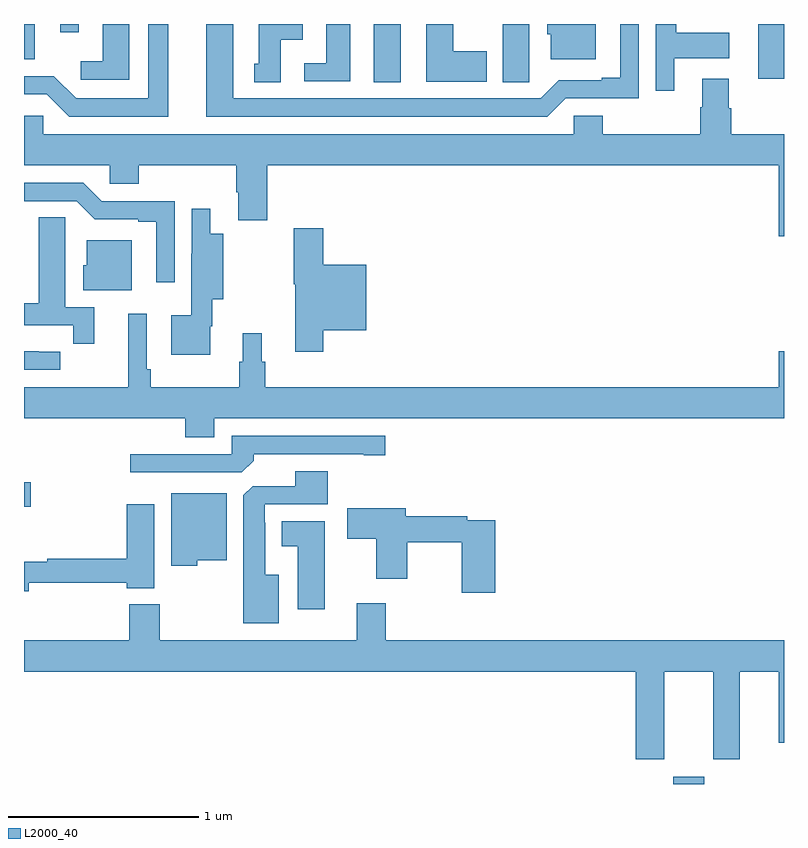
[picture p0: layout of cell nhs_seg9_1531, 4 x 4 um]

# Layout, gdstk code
import gdstk
lib = gdstk.Library(unit=1e-6, precision=1e-09)
def R(c, l, rs):  # rectangles x0, y0, x1, y1
    for r in rs: c.add(gdstk.rectangle(r[:2], r[2:], *l))
def P(c, l, *ps):  # polygons
    for p in ps: c.add(gdstk.Polygon(p, *l))
L2000_40 = (2000, 40)

nhs_seg9_1531 = lib.new_cell('nhs_seg9_1531')
R(nhs_seg9_1531, L2000_40, [(200.417,1190.5,200.581,1190.539), (197,1191.959,197.035,1192.089), (198.842,1194.193,198.982,1194.5), (200.864,1194.213,201,1194.5), (197,1194.314,197.056,1194.5), (197.192,1194.456,197.289,1194.5)])
P(nhs_seg9_1531, L2000_40, [(197.758,1194.5),(197.654,1194.5),(197.654,1194.108),(197.274,1194.108),(197.157,1194.225),(197,1194.225),(197,1194.129),(197.121,1194.129),(197.238,1194.012),(197.758,1194.012)],
  [(199.659,1194.304),(199.66,1194.304),(199.66,1194.5),(199.52,1194.5),(199.52,1194.193),(199.659,1194.193)],
  [(200.008,1194.5),(199.754,1194.5),(199.754,1194.447),(199.772,1194.447),(199.772,1194.314),(200.008,1194.314)],
  [(200.422,1194.32),(200.713,1194.32),(200.713,1194.455),(200.434,1194.455),(200.434,1194.5),(200.325,1194.5),(200.325,1194.15),(200.422,1194.15)],
  [(198.718,1194.5),(198.59,1194.5),(198.59,1194.294),(198.474,1194.294),(198.474,1194.198),(198.718,1194.198)],
  [(197.554,1194.5),(197.414,1194.5),(197.414,1194.304),(197.298,1194.304),(197.298,1194.207),(197.554,1194.207)],
  [(199.435,1194.357),(199.258,1194.357),(199.258,1194.5),(199.118,1194.5),(199.118,1194.197),(199.435,1194.197)],
  [(198.352,1194.416),(198.466,1194.416),(198.466,1194.5),(198.236,1194.5),(198.236,1194.291),(198.212,1194.291),(198.212,1194.193),(198.352,1194.193)],
  [(199.851,1194.108),(200.235,1194.108),(200.235,1194.5),(200.138,1194.5),(200.138,1194.217),(200.042,1194.217),(200.042,1194.204),(199.815,1194.204),(199.719,1194.108),(198.1,1194.108),(198.1,1194.5),(197.96,1194.5),(197.96,1194.012),(199.755,1194.012)],
  [(201,1193.92),(200.723,1193.92),(200.723,1194.057),(200.71,1194.057),(200.71,1194.211),(200.57,1194.211),(200.57,1194.062),(200.558,1194.062),(200.558,1193.92),(200.045,1193.92),(200.045,1194.018),(199.893,1194.018),(199.893,1193.92),(197.1,1193.92),(197.1,1194.018),(197,1194.018),(197,1193.756),(197.451,1193.756),(197.451,1193.658),(197.603,1193.658),(197.603,1193.756),(198.116,1193.756),(198.116,1193.614),(198.128,1193.614),(198.128,1193.466),(198.281,1193.466),(198.281,1193.756),(200.972,1193.756),(200.972,1193.382),(201,1193.382)],
  [(197.793,1193.568),(197.409,1193.568),(197.313,1193.664),(197,1193.664),(197,1193.568),(197.277,1193.568),(197.373,1193.472),(197.6,1193.472),(197.6,1193.46),(197.696,1193.46),(197.696,1193.142),(197.793,1193.142)],
  [(197.979,1192.91),(197.992,1192.91),(197.992,1193.051),(198.048,1193.051),(198.048,1193.395),(197.98,1193.395),(197.98,1193.527),(197.882,1193.527),(197.882,1193.291),(197.881,1193.291),(197.881,1192.966),(197.774,1192.966),(197.774,1192.76),(197.979,1192.76)],
  [(197.369,1193.01),(197.218,1193.01),(197.218,1193.372),(197.217,1193.372),(197.217,1193.483),(197.078,1193.483),(197.078,1193.031),(197,1193.031),(197,1192.914),(197.26,1192.914),(197.26,1192.818),(197.369,1192.818)],
  [(198.575,1192.889),(198.802,1192.889),(198.802,1193.233),(198.575,1193.233),(198.575,1193.425),(198.421,1193.425),(198.421,1193.129),(198.428,1193.129),(198.428,1192.776),(198.575,1192.776)],
  [(197.566,1193.362),(197.33,1193.362),(197.33,1193.229),(197.312,1193.229),(197.312,1193.099),(197.566,1193.099)],
  [(198.001,1192.424),(201,1192.424),(201,1192.777),(200.972,1192.777),(200.972,1192.588),(198.269,1192.588),(198.269,1192.722),(198.25,1192.722),(198.25,1192.873),(198.152,1192.873),(198.152,1192.722),(198.133,1192.722),(198.133,1192.588),(197.666,1192.588),(197.666,1192.684),(197.646,1192.684),(197.646,1192.975),(197.549,1192.975),(197.549,1192.588),(197,1192.588),(197,1192.424),(197.849,1192.424),(197.849,1192.325),(198.001,1192.325)],
  [(197.191,1192.776),(197.078,1192.776),(197.078,1192.777),(197,1192.777),(197,1192.68),(197.191,1192.68)],
  [(198.209,1192.202),(198.209,1192.236),(198.788,1192.236),(198.788,1192.231),(198.901,1192.231),(198.901,1192.332),(198.093,1192.332),(198.093,1192.236),(197.559,1192.236),(197.559,1192.14),(198.147,1192.14)],
  [(198.34,1191.601),(198.271,1191.601),(198.271,1191.875),(198.267,1191.875),(198.267,1191.972),(198.598,1191.972),(198.598,1192.147),(198.428,1192.147),(198.428,1192.068),(198.204,1192.068),(198.155,1192.019),(198.155,1191.347),(198.34,1191.347)],
  [(197.913,1191.677),(198.067,1191.677),(198.067,1192.03),(197.774,1192.03),(197.774,1191.65),(197.913,1191.65)],
  [(197.026,1191.558),(197.54,1191.558),(197.54,1191.53),(197.686,1191.53),(197.686,1191.973),(197.54,1191.973),(197.54,1191.686),(197.122,1191.686),(197.122,1191.671),(197,1191.671),(197,1191.515),(197.026,1191.515)],
  [(199.481,1191.888),(199.334,1191.888),(199.334,1191.908),(199.009,1191.908),(199.009,1191.952),(198.702,1191.952),(198.702,1191.79),(198.854,1191.79),(198.854,1191.579),(199.017,1191.579),(199.017,1191.772),(199.303,1191.772),(199.303,1191.507),(199.481,1191.507)],
  [(198.583,1191.883),(198.356,1191.883),(198.356,1191.752),(198.44,1191.752),(198.44,1191.42),(198.583,1191.42)],
  [(198.905,1191.451),(198.752,1191.451),(198.752,1191.256),(197.715,1191.256),(197.715,1191.445),(197.555,1191.445),(197.555,1191.256),(197,1191.256),(197,1191.092),(200.219,1191.092),(200.219,1190.631),(200.371,1190.631),(200.371,1191.092),(200.627,1191.092),(200.627,1190.631),(200.767,1190.631),(200.767,1191.092),(200.972,1191.092),(200.972,1190.718),(201,1190.718),(201,1191.256),(198.905,1191.256)])

lib.write_gds('nhs_seg9_1531.gds')
